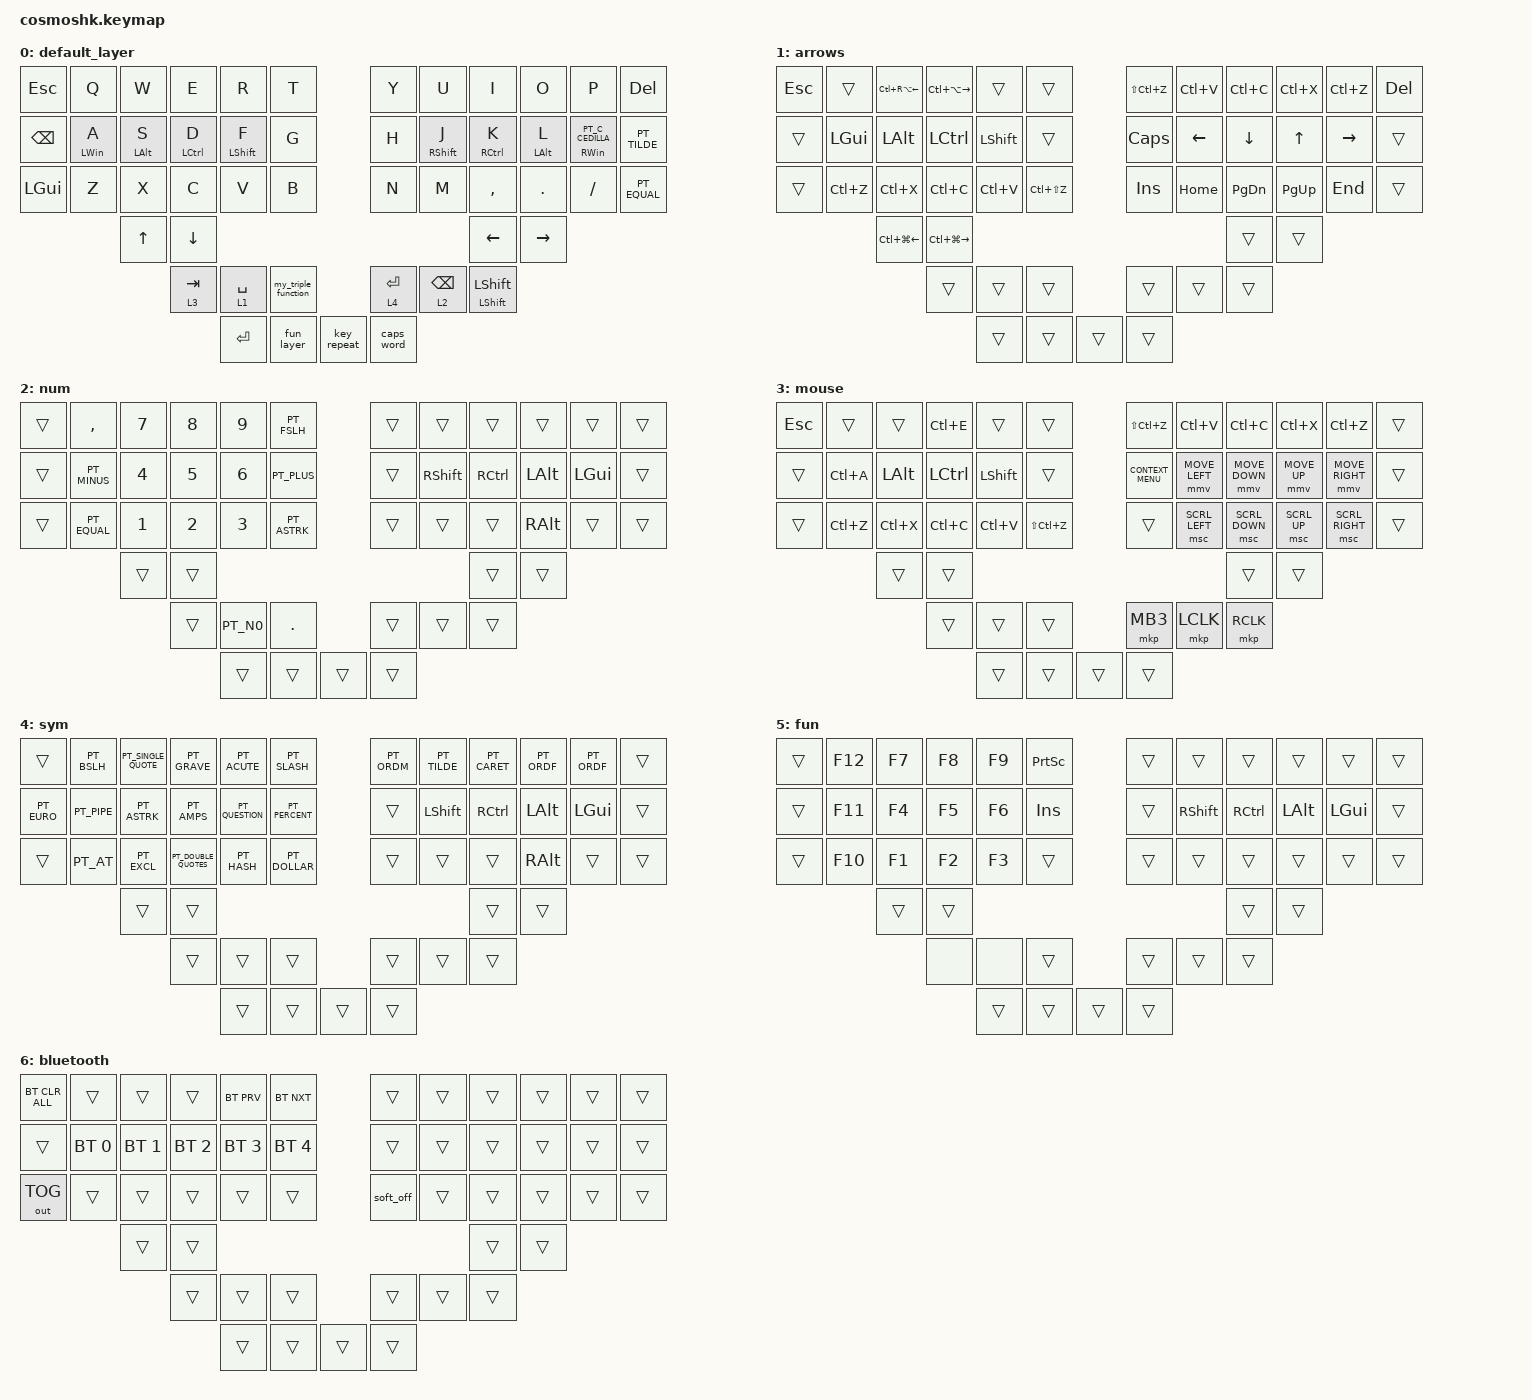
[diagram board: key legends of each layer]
/*
 * Copyright (c) 2020 The ZMK Contributors
 *
 * SPDX-License-Identifier: MIT
 */

#include <behaviors.dtsi>
#include <dt-bindings/zmk/bt.h>
#include <dt-bindings/zmk/keys.h>
#include <dt-bindings/zmk/outputs.h>
#include <dt-bindings/zmk/pointing.h>
#include "keys_pt.h"

/ {
    combos {
        compatible = "zmk,combos";

        lessthan {
            bindings = <&kp PT_LESS_THAN>;
            key-positions = <2 3>;
        };

        openbrace {
            bindings = <&kp PT_LEFT_BRACE>;
            key-positions = <3 4>;
        };

        openparent {
            bindings = <&kp PT_LEFT_PARENTHESIS>;
            key-positions = <28 27>;
        };

        openbraket {
            bindings = <&kp PT_LEFT_BRACKET>;
            key-positions = <26 27>;
        };

        closebrace {
            bindings = <&kp PT_RIGHT_BRACE>;
            key-positions = <7 8>;
        };

        closegreater {
            bindings = <&kp PT_GREATER_THAN>;
            key-positions = <8 9>;
        };

        closeparent {
            bindings = <&kp PT_RIGHT_PARENTHESIS>;
            key-positions = <31 32>;
        };

        closebrack {
            bindings = <&kp PT_RIGHT_BRACKET>;
            key-positions = <32 33>;
        };

        bluetoothlayer {
            bindings = <&mo 6>;
            key-positions = <43 44 45>;
        };

        mo_func {
            bindings = <&mo 5>;
            key-positions = <41 44>;
        };

        none_layer {
            bindings = <&soft_off>;
            key-positions = <37 36 38 39>;
            layers = <0>;
        };
    };

    behaviors {
        hml: homerow_mods_left {
            compatible = "zmk,behavior-hold-tap";
            label = "HOMEROW_MODS_LEFT";
            bindings = <&kp>, <&kp>;

            #binding-cells = <2>;
            tapping-term-ms = <280>;
            quick-tap-ms = <175>;
            flavor = "balanced";
            hold-trigger-key-positions = <6 7 8 9 10 18 20 19 30 31 32 21 33 34 22 23 40 41 42 46 47 43 44 45 49 48>;
            require-prior-idle-ms = <150>;
            hold-trigger-on-release;
        };

        sfthold: sticky_or_hold {
            compatible = "zmk,behavior-hold-tap";
            label = "STICKY_OR_HOLD";
            bindings = <&kp>, <&sk>;

            #binding-cells = <2>;
            tapping-term-ms = <300>;
            quick-tap-ms = <250>;
            flavor = "balanced";
        };

        hmr: homerow_mods_right {
            compatible = "zmk,behavior-hold-tap";
            label = "HOMEROW_MOES_RIGHT";
            bindings = <&kp>, <&kp>;

            #binding-cells = <2>;
            tapping-term-ms = <280>;
            quick-tap-ms = <175>;
            flavor = "balanced";
            hold-trigger-key-positions = <1 2 3 13 14 15 4 5 17 16 26 25 27 28 29 40 41 46 47 42 43 44 45 49 48>;
            require-prior-idle-ms = <150>;
            hold-trigger-on-release;
        };

        stikfun: stikfun {
            compatible = "zmk,behavior-hold-tap";
            label = "STIKFUN";
            bindings = <&lt>, <&sl>;

            #binding-cells = <2>;
            tapping-term-ms = <250>;
            quick-tap-ms = <180>;
            flavor = "hold-preferred";
            hold-while-undecided;
        };

        fun_layer: fun_layer {
            compatible = "zmk,behavior-tap-dance";
            label = "FUN_LAYER";
            #binding-cells = <0>;
            bindings = <&sl 5>, <&mo 5>, <&tog 5>;
        };

        td_hold_tap: td_hold_tap {
            compatible = "zmk,behavior-hold-tap";
            label = "TD_HOLD_TAP";
            bindings = <&kp>, <&kp>;

            #binding-cells = <2>;
            tapping-term-ms = <170>;
            flavor = "hold-preferred";
            hold-trigger-key-positions = <1 2 3 4 5 17 16 15 14 13 25 26 27 28 29>;
        };

        my_triple_function: my_triple_function {
            compatible = "zmk,behavior-tap-dance";
            label = "MY_TRIPLE_FUNCTION";
            #binding-cells = <0>;
            bindings = <&td_hold_tap LCTRL ENTER>, <&mo 5>, <&sl 5>;

            tapping-term-ms = <170>;
        };
    };

    keymap {
        compatible = "zmk,keymap";

        default_layer {
            // ------------------------------------------------------------------------------------------------------------
            // |  ESC  |  Q  |  W  |  E   |  R   |  T   |                   |  Y   |  U    |  I    |  O   |   P   |  ESC  |
            // | BSPC  |  A  |  S  |  D   |  F   |  G   |                   |  H   |  J    |  K    |  L   |   Ç   |  ~    |
            // |  GUI  |  Z  |  X  |  C   |  V   |  B   |                   |  N   |  M    |  ,    |  .   |   -   |  GUI  |
            //               | LFT | RGT  |                                                |  UP   |  DWN |
            //                     | CTRL | SPC  | MOUS |                   | RSE  |  ENT  |  SPC  |
            //                            | ENT  | L_1  |                   | LWR  |  GUI  |

            bindings = <
&kp ESC        &kp Q        &kp W         &kp E           &kp R         &kp T                             &kp Y        &kp U               &kp I                           &kp O            &kp P                   &kp DEL
&kp BACKSPACE  &hml LWIN A  &hml LALT S   &hml LCTRL D    &hml LSHFT F  &kp G                             &kp H        &hmr RIGHT_SHIFT J  &hmr RCTRL K                    &hmr LEFT_ALT L  &hmr RWIN PT_C_CEDILLA  &kp PT_TILDE
&kp LEFT_GUI   &kp Z        &kp X         &kp C           &kp V         &kp B                             &kp N        &kp M               &kp COMMA                       &kp DOT          &kp SLASH               &kp PT_EQUAL
                            &kp UP_ARROW  &kp DOWN_ARROW                                                                                   &kp LEFT_ARROW                  &kp RIGHT_ARROW
                                          &lt 3 TAB       &lt 1 SPACE   &my_triple_function               &lt 4 ENTER  &lt 2 BACKSPACE     &sfthold LEFT_SHIFT LEFT_SHIFT
                                                          &kp RETURN    &fun_layer           &key_repeat  &caps_word
            >;
        };

        arrows {
            bindings = <
&kp ESCAPE  &trans        &kp LC(RA(LEFT))        &kp LC(LA(RIGHT))  &trans          &trans                 &kp LS(LC(Z))  &kp LC(V)  &kp LC(C)       &kp LC(X)     &kp LC(Z)  &kp DEL
&trans      &kp LEFT_GUI  &kp LEFT_ALT            &kp LEFT_CONTROL   &kp LEFT_SHIFT  &trans                 &kp CLCK       &kp LEFT   &kp DOWN_ARROW  &kp UP_ARROW  &kp RIGHT  &trans
&trans      &kp LC(Z)     &kp LC(X)               &kp LC(C)          &kp LC(V)       &kp LC(LS(Z))          &kp INS        &kp HOME   &kp PAGE_DOWN   &kp PAGE_UP   &kp END    &trans
                          &kp LC(LG(LEFT_ARROW))  &kp LC(LG(RIGHT))                                                                   &trans          &trans
                                                  &trans             &trans          &trans                 &trans         &trans     &trans
                                                                     &trans          &trans         &trans  &trans
            >;
        };

        num {
            bindings = <
&trans  &kp COMMA     &kp N7  &kp N8  &kp N9     &kp PT_FSLH           &trans  &trans     &trans     &trans    &trans    &trans
&trans  &kp PT_MINUS  &kp N4  &kp N5  &kp N6     &kp PT_PLUS           &trans  &kp RSHFT  &kp RCTRL  &kp LALT  &kp LGUI  &trans
&trans  &kp PT_EQUAL  &kp N1  &kp N2  &kp N3     &kp PT_ASTRK          &trans  &trans     &trans     &kp RALT  &trans    &trans
                      &trans  &trans                                                      &trans     &trans
                              &trans  &kp PT_N0  &kp PERIOD            &trans  &trans     &trans
                                      &trans     &trans        &trans  &trans
            >;
        };

        mouse {
            bindings = <
&kp ESC  &trans     &trans     &kp LC(E)  &trans     &trans                 &kp LS(LC(Z))       &kp LC(V)       &kp LC(C)       &kp LC(X)     &kp LC(Z)        &trans
&trans   &kp LC(A)  &kp LALT   &kp LCTRL  &kp LSHFT  &trans                 &kp K_CONTEXT_MENU  &mmv MOVE_LEFT  &mmv MOVE_DOWN  &mmv MOVE_UP  &mmv MOVE_RIGHT  &trans
&trans   &kp LC(Z)  &kp LC(X)  &kp LC(C)  &kp LC(V)  &kp LS(LC(Z))          &trans              &msc SCRL_LEFT  &msc SCRL_DOWN  &msc SCRL_UP  &msc SCRL_RIGHT  &trans
                    &trans     &trans                                                                           &trans          &trans
                               &trans     &trans     &trans                 &mkp MB3            &mkp LCLK       &mkp RCLK
                                          &trans     &trans         &trans  &trans
            >;
        };

        sym {
            bindings = <
&trans       &kp PT_BSLH  &kp PT_SINGLE_QUOTE  &kp PT_GRAVE          &kp PT_ACUTE     &kp PT_SLASH            &kp PT_ORDM  &kp PT_TILDE  &kp PT_CARET  &kp PT_ORDF  &kp PT_ORDF  &trans
&kp PT_EURO  &kp PT_PIPE  &kp PT_ASTRK         &kp PT_AMPS           &kp PT_QUESTION  &kp PT_PERCENT          &trans       &kp LSHFT     &kp RCTRL     &kp LALT     &kp LGUI     &trans
&trans       &kp PT_AT    &kp PT_EXCL          &kp PT_DOUBLE_QUOTES  &kp PT_HASH      &kp PT_DOLLAR           &trans       &trans        &trans        &kp RALT     &trans       &trans
                          &trans               &trans                                                                                    &trans        &trans
                                               &trans                &trans           &trans                  &trans       &trans        &trans
                                                                     &trans           &trans          &trans  &trans
            >;
        };

        fun {
            bindings = <
&trans  &kp F12  &kp F7  &kp F8  &kp F9  &kp PRINTSCREEN          &trans  &trans     &trans     &trans    &trans    &trans
&trans  &kp F11  &kp F4  &kp F5  &kp F6  &kp INSERT               &trans  &kp RSHFT  &kp RCTRL  &kp LALT  &kp LGUI  &trans
&trans  &kp F10  &kp F1  &kp F2  &kp F3  &trans                   &trans  &trans     &trans     &trans    &trans    &trans
                 &trans  &trans                                                      &trans     &trans
                         &none   &none   &trans                   &trans  &trans     &trans
                                 &trans  &trans           &trans  &trans
            >;
        };

        bluetooth {
            bindings = <
&bt BT_CLR_ALL  &trans        &trans        &trans        &bt BT_PRV    &bt BT_NXT            &trans     &trans  &trans  &trans  &trans  &trans
&trans          &bt BT_SEL 0  &bt BT_SEL 1  &bt BT_SEL 2  &bt BT_SEL 3  &bt BT_SEL 4          &trans     &trans  &trans  &trans  &trans  &trans
&out OUT_TOG    &trans        &trans        &trans        &trans        &trans                &soft_off  &trans  &trans  &trans  &trans  &trans
                              &trans        &trans                                                               &trans  &trans
                                            &trans        &trans        &trans                &trans     &trans  &trans
                                                          &trans        &trans        &trans  &trans
            >;
        };

    };
};
